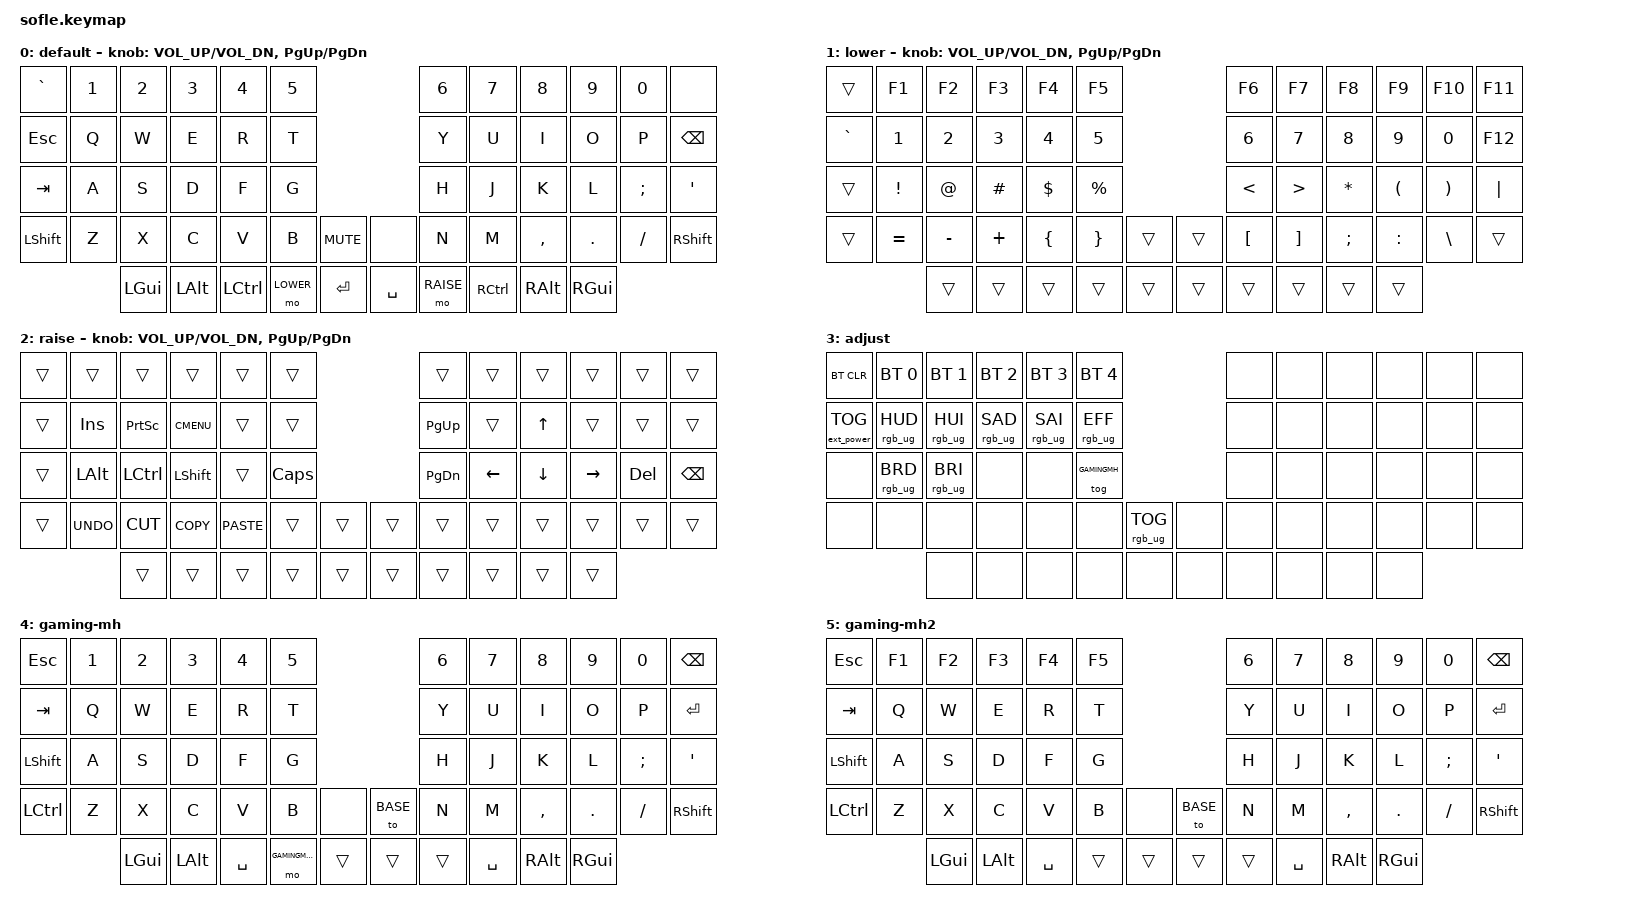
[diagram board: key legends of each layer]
/*
 * Copyright (c) 2020 The ZMK Contributors
 *
 * SPDX-License-Identifier: MIT
 */

#include <dt-bindings/led/led.h>
#include <behaviors.dtsi>
#include <dt-bindings/zmk/keys.h>
#include <dt-bindings/zmk/bt.h>
#include <dt-bindings/zmk/rgb.h>
#include <dt-bindings/zmk/ext_power.h>

#define BASE 0
#define LOWER 1
#define RAISE 2
#define ADJUST 3
#define GAMINGMH 4
#define GAMINGMHW 5

/ {
   // Activate ADJUST layer by pressing raise and lower
    conditional_layers {
        compatible = "zmk,conditional-layers";
        adjust_layer {
            if-layers = <LOWER RAISE>;
            then-layer = <ADJUST>;
        };
    };

    keymap {
        compatible = "zmk,keymap";

        default_layer {
            display-name = "default";
// ------------------------------------------------------------------------------------------------------------
// |   `   |  1  |  2  |  3   |  4   |  5   |                   |  6   |  7    |  8    |  9   |   0   |       |
// |  ESC  |  Q  |  W  |  E   |  R   |  T   |                   |  Y   |  U    |  I    |  O   |   P   | BKSPC |
// |  TAB  |  A  |  S  |  D   |  F   |  G   |                   |  H   |  J    |  K    |  L   |   ;   |   '   |
// | SHIFT |  Z  |  X  |  C   |  V   |  B   |  MUTE  |  |       |  N   |  M    |  ,    |  .   |   /   | SHIFT |
//               | GUI | ALT  | CTRL | LOWER|  ENTER |  | SPACE | RAISE| CTRL  | ALT   | GUI  |
            bindings = <
&kp GRAVE &kp N1 &kp N2   &kp N3   &kp N4    &kp N5                           &kp N6 &kp N7    &kp N8    &kp N9   &kp N0   &none
&kp ESC   &kp Q  &kp W    &kp E    &kp R     &kp T                            &kp Y  &kp U     &kp I     &kp O    &kp P    &kp BSPC
&kp TAB   &kp A  &kp S    &kp D    &kp F     &kp G                            &kp H  &kp J     &kp K     &kp L    &kp SEMI &kp SQT
&kp LSHFT &kp Z  &kp X    &kp C    &kp V     &kp B      &kp C_MUTE &none      &kp N  &kp M     &kp COMMA &kp DOT  &kp FSLH &kp RSHFT
                 &kp LGUI &kp LALT &kp LCTRL &mo LOWER  &kp RET    &kp SPACE  &mo RAISE  &kp RCTRL &kp RALT  &kp RGUI
            >;

            sensor-bindings = <&inc_dec_kp C_VOL_UP C_VOL_DN &inc_dec_kp PG_UP PG_DN>;
        };

        lower_layer {
            display-name = "lower";
// TODO: Some binds are waiting for shifted keycode support.
// ------------------------------------------------------------------------------------------------------------
// |       |  F1 |  F2 |  F3  |  F4  |  F5  |                   |  F6  |  F7   |  F8   |  F9  |  F10  |  F11  |
// |   `   |  1  |  2  |  3   |  4   |  5   |                   |  6   |  7    |  8    |  9   |   0   |  F12  |
// |       |  !  |  @  |  #   |  $   |  %   |                   |  <   |  >    |  *    |  (   |   )   |   |   |
// |       |  =  |  -  |  +   |  {   |  }   |        |  |       |  [   |  ]    |  ;    |  :   |   \   |       |
//               |     |      |      |      |        |  |       |      |       |       |      |
            bindings = <
&trans    &kp F1    &kp F2    &kp F3      &kp F4    &kp F5                    &kp F6    &kp F7   &kp F8    &kp F9    &kp F10   &kp F11
&kp GRAVE &kp N1    &kp N2    &kp N3      &kp N4    &kp N5                    &kp N6    &kp N7   &kp N8    &kp N9    &kp N0    &kp F12
&trans    &kp EXCL  &kp AT    &kp HASH    &kp DLLR  &kp PRCNT                 &kp LT &kp GT &kp ASTRK &kp LPAR  &kp RPAR  &kp PIPE
&trans    &kp EQUAL &kp MINUS &kp PLUS &kp LBRC  &kp RBRC   &trans &trans  &kp LBKT  &kp RBKT &kp SEMI  &kp COLON &kp BSLH  &trans
                    &trans    &trans      &trans    &trans     &trans &trans  &trans    &trans   &trans    &trans
            >;

            sensor-bindings = <&inc_dec_kp C_VOL_UP C_VOL_DN &inc_dec_kp PG_UP PG_DN>;
        };

        raise_layer {
            display-name = "raise";
// ------------------------------------------------------------------------------------------------------------
// |       |      |      |       |       |      |                |      |      |       |      |       |       |
// |       | INS  | PSCR | GUI   |       |      |                | PGUP |      |   ^   |      |       |       |
// |       | ALT  | CTRL | SHIFT |       | CAPS |                | PGDN |   <- |   v   |  ->  |  DEL  | BKSPC |
// |       | UNDO | CUT  | COPY  | PASTE |      |      |  |      |      |      |       |      |       |       |
//                |      |       |       |      |      |  |      |      |      |       |      |
            bindings = <
&trans     &trans       &trans       &trans       &trans       &trans                        &trans    &trans    &trans   &trans    &trans  &trans
&trans     &kp INS      &kp PSCRN    &kp K_CMENU  &trans       &trans                        &kp PG_UP &trans    &kp UP   &trans    &trans  &trans
&trans     &kp LALT     &kp LCTRL    &kp LSHFT    &trans       &kp CLCK                      &kp PG_DN &kp LEFT  &kp DOWN &kp RIGHT &kp DEL &kp BSPC
&trans     &kp K_UNDO   &kp K_CUT    &kp K_COPY   &kp K_PASTE  &trans        &trans  &trans  &trans    &trans    &trans   &trans    &trans  &trans
                        &trans       &trans       &trans       &trans        &trans  &trans  &trans    &trans    &trans   &trans
            >;

            sensor-bindings = <&inc_dec_kp C_VOL_UP C_VOL_DN &inc_dec_kp PG_UP PG_DN>;
        };

        adjust_layer {
// ----------------------------------------------------------------------------------------------------------------------------
// | BTCLR  |  BT1    |  BT2    |   BT3   |   BT4   |   BT5   |                  |      |      |       |      |       |       |
// | EXTPWR | RGB_HUD | RGB_HUI | RGB_SAD | RGB_SAI | RGB_EFF |                  |      |      |       |      |       |       |
// |        | RGB_BRD | RGB_BRI |         |         |         |                  |      |      |       |      |       |       |
// |        |         |         |         |         |         | RGB_TOG | |      |      |      |       |      |       |       |
//                    |         |         |         |         |         | |      |      |      |       |      |
            display-name = "adjust";
            bindings = <
&bt BT_CLR        &bt BT_SEL 0    &bt BT_SEL 1    &bt BT_SEL 2    &bt BT_SEL 3    &bt BT_SEL 4                            &none &none &none &none &none &none
&ext_power EP_TOG &rgb_ug RGB_HUD &rgb_ug RGB_HUI &rgb_ug RGB_SAD &rgb_ug RGB_SAI &rgb_ug RGB_EFF                         &none &none &none &none &none &none
&none             &rgb_ug RGB_BRD &rgb_ug RGB_BRI &none           &none           &tog GAMINGMH                                   &none &none &none &none &none &none
&none             &none           &none           &none           &none           &none            &rgb_ug RGB_TOG &none  &none &none &none &none &none &none
                                  &none           &none           &none           &none            &none           &none  &none &none &none &none
            >;
        };

        gamingmh_layer {
            display-name = "gaming-mh";
// ------------------------------------------------------------------------------------------------------------
// | ESC |  1  |  2  |  3  |  4  |  5  |                   |  6  |  7  |  8  |  9  |  0  | BSPC |
// | TAB |  Q  |  W  |  E  |  R  |  T  |                   |  Y  |  U  |  I  |  O  |  P  | ENTER |
// |SHIFT|  A  |  S  |  D  |  F  |  G  |                   |  H  |  J  |  K  |  L  |  ;  |  '    |
// |CTRL |  Z  |  X  |  C  |  V  |  B  |       |  |  BASE  |  N  |  M  |  ,  |  .  |  /  | SHIFT |
//                | GUI | ALT | SPACE |      |       |      | SPACE | ALT | GUI |
    bindings = <
&kp ESC   &kp N1 &kp N2 &kp N3 &kp N4 &kp N5                    &kp N6 &kp N7 &kp N8 &kp N9 &kp N0 &kp BSPC
&kp TAB   &kp Q  &kp W  &kp E  &kp R  &kp T                     &kp Y  &kp U  &kp I  &kp O  &kp P  &kp RET
&kp LSHFT &kp A  &kp S  &kp D  &kp F  &kp G                     &kp H  &kp J  &kp K  &kp L  &kp SEMI &kp SQT
&kp LCTRL &kp Z  &kp X  &kp C  &kp V  &kp B  &none &to BASE    &kp N  &kp M  &kp COMMA &kp DOT &kp FSLH &kp RSHFT
               &kp LGUI &kp LALT &kp SPACE &mo GAMINGMHW &trans &trans &trans &kp SPACE &kp RALT &kp RGUI
    >;
        };
      gamingmhw_layer {
            display-name = "gaming-mh2";
// ------------------------------------------------------------------------------------------------------------
// | ESC |  F1 |  F2 |  F3 |  F4 |  F5 |                   |  6  |  7  |  8  |  9  |  0  | BSPC |
// | TAB |  Q  |  W  |  E  |  R  |  T  |                   |  Y  |  U  |  I  |  O  |  P  | ENTER |
// |SHIFT|  A  |  S  |  D  |  F  |  G  |                   |  H  |  J  |  K  |  L  |  ;  |  '    |
// |CTRL |  Z  |  X  |  C  |  V  |  B  |       |  |  BASE  |  N  |  M  |  ,  |  .  |  /  | SHIFT |
//                | GUI | ALT | SPACE |      |       |      | SPACE | ALT | GUI |
    bindings = <
&kp ESC   &kp F1 &kp F2 &kp F3 &kp F4 &kp F5                    &kp N6 &kp N7 &kp N8 &kp N9 &kp N0 &kp BSPC
&kp TAB   &kp Q  &kp W  &kp E  &kp R  &kp T                     &kp Y  &kp U  &kp I  &kp O  &kp P  &kp RET
&kp LSHFT &kp A  &kp S  &kp D  &kp F  &kp G                     &kp H  &kp J  &kp K  &kp L  &kp SEMI &kp SQT
&kp LCTRL &kp Z  &kp X  &kp C  &kp V  &kp B  &none &to BASE    &kp N  &kp M  &kp COMMA &kp DOT &kp FSLH &kp RSHFT
               &kp LGUI &kp LALT &kp SPACE &trans &trans &trans &trans &kp SPACE &kp RALT &kp RGUI
    >;

    };
};
};

